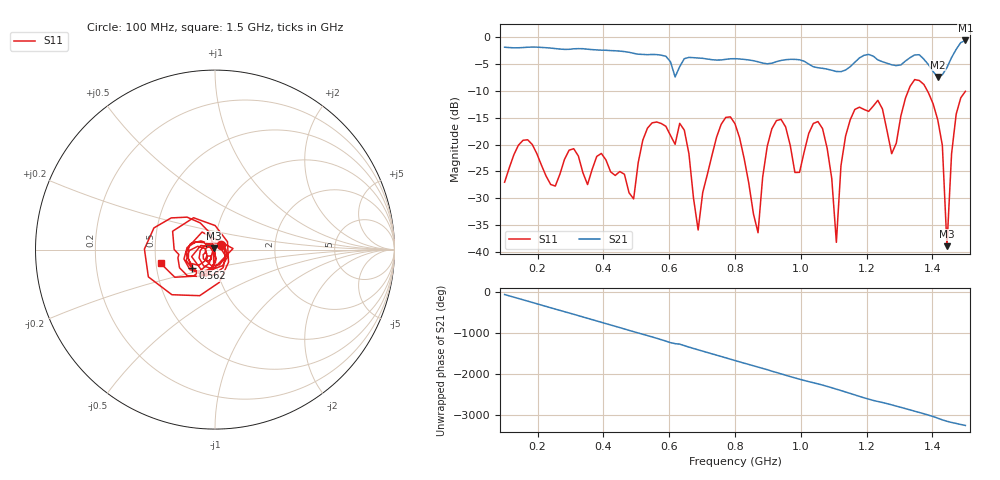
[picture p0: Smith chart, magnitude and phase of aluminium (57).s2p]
! NanoVNA-App
! Date: 2025-09-25 14:55:43
! Start: 100MHz Stop: 1,5GHz Points: 101
! S-Parameter data: F S11 S21 S12 S22
# Hz S RI R 50
!  Frequency  S11_Real  S11_Imag  S21_Real  S21_Imag  S12_Real  S12_Imag  S22_Real  S22_Imag
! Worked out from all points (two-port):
!   101 points, 100 MHz to 1.5 GHz, reference 50 ohm
!   highest |S21| = -0.67 dB at 1.5 GHz (marker M1); lowest = -7.5 dB at 1.416 GHz (marker M2)
!   |S21| within 3 dB of the highest: start of sweep to 590.9 MHz; 1.185 GHz to 1.222 GHz (36.65 MHz wide, 3.05 % of centre) (the widest 2 of 4)
!   lowest |S11| = -38.9 dB at 1.444 GHz (marker M3), VSWR 1.02, Z = 49.2 + j0.798 ohm
!   |S11| at or under -10 dB: start of sweep to 1.327 GHz; 1.384 GHz to end of sweep
!   S12 and S22 are empty: the file has one direction only
!   S11 on the Smith chart (normalised r, x): 100 MHz: 1.07, +0.06; 562 MHz: 0.76, -0.16; 1.5 GHz: 0.53, -0.09
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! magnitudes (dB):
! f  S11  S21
! 100 MHz  -27.0  -1.9
! 338 MHz  -25.3  -2.2
! 492 MHz  -30.1  -3.1
! 562 MHz  -15.8  -3.3
! 576 MHz  -16.1  -3.4
! 646 MHz  -17.3  -4.0
! 688 MHz  -35.9  -3.9
! 800 MHz  -16.1  -4.1
! 870 MHz  -36.4  -4.6
! 912 MHz  -17.1  -4.9
! 996 MHz  -25.2  -4.3
! 1.038 GHz  -16.1  -5.6
! 1.08 GHz  -20.7  -6.0
! 1.108 GHz  -38.2  -6.4
! 1.122 GHz  -23.9  -6.5
! 1.164 GHz  -13.5  -4.7
! 1.276 GHz  -21.7  -5.2
! 1.346 GHz  -7.9  -3.4
! 1.416 GHz  -15.4  -7.5
! 1.444 GHz  -38.9  -5.7
! 1.472 GHz  -14.4  -2.3
! 1.5 GHz  -10.1  -0.7
